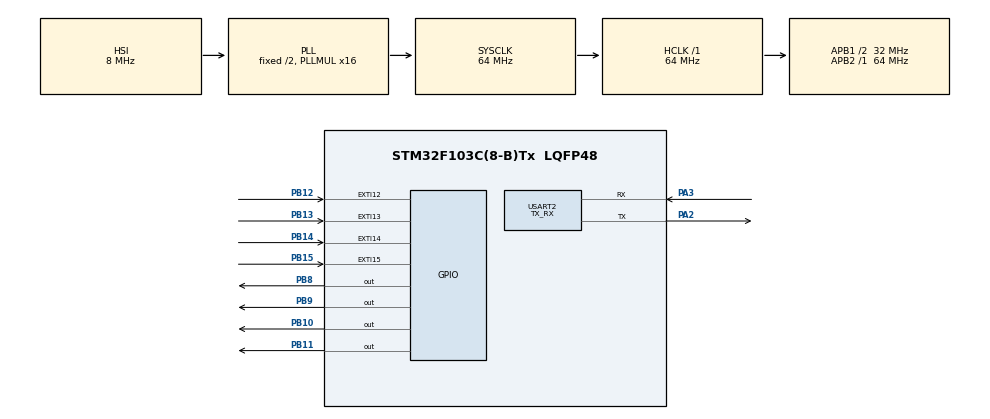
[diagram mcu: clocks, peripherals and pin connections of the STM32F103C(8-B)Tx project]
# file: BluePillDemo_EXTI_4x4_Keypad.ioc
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Mcu.Family=STM32F1
Mcu.Name=STM32F103C(8-B)Tx
Mcu.Package=LQFP48
NVIC.EXTI15_10_IRQn=true\:0\:0\:false\:false\:true\:true\:true
NVIC.PriorityGroup=NVIC_PRIORITYGROUP_4
PA13.Mode=Serial_Wire
PA13.Signal=SYS_JTMS-SWDIO
PA14.Mode=Serial_Wire
PA14.Signal=SYS_JTCK-SWCLK
PA2.Mode=Asynchronous
PA2.Signal=USART2_TX
PA3.Mode=Asynchronous
PA3.Signal=USART2_RX
PB10.PinState=GPIO_PIN_SET
PB10.Signal=GPIO_Output
PB11.PinState=GPIO_PIN_SET
PB11.Signal=GPIO_Output
PB12.GPIO_PuPd=GPIO_PULLDOWN
PB12.Signal=GPXTI12
PB13.GPIO_PuPd=GPIO_PULLDOWN
PB13.Signal=GPXTI13
PB14.GPIO_PuPd=GPIO_PULLDOWN
PB14.Signal=GPXTI14
PB15.GPIO_PuPd=GPIO_PULLDOWN
PB15.Signal=GPXTI15
PB8.PinState=GPIO_PIN_SET
PB8.Signal=GPIO_Output
PB9.PinState=GPIO_PIN_SET
PB9.Signal=GPIO_Output
ProjectManager.HeapSize=0x200
ProjectManager.StackSize=0x400
ProjectManager.TargetToolchain=STM32CubeIDE
RCC.AHBFreq_Value=64000000
RCC.APB1CLKDivider=RCC_HCLK_DIV2
RCC.APB1Freq_Value=32000000
RCC.APB1TimFreq_Value=64000000
RCC.APB2Freq_Value=64000000
RCC.APB2TimFreq_Value=64000000
RCC.HCLKFreq_Value=64000000
RCC.PLLMUL=RCC_PLL_MUL16
RCC.SYSCLKFreq_VALUE=64000000
RCC.SYSCLKSource=RCC_SYSCLKSOURCE_PLLCLK
RCC.USBFreq_Value=64000000
USART2.Mode=MODE_TX_RX
USART2.VirtualMode=VM_ASYNC
board=custom

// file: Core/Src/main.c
/* USER CODE BEGIN Header */
/**
  ******************************************************************************
  * @file           : main.c
  * @brief          : Main program body
  ******************************************************************************
  * @attention
  *
  * <h2><center>&copy; Copyright (c) 2020 STMicroelectronics.
  * All rights reserved.</center></h2>
  *
  * This software component is licensed by ST under BSD 3-Clause license,
  * the "License"; You may not use this file except in compliance with the
  * License. You may obtain a copy of the License at:
  *                        opensource.org/licenses/BSD-3-Clause
  *
  ******************************************************************************
  */
/* USER CODE END Header */

#include "main.h"

/* USER CODE BEGIN Includes */
#include <string.h>
#include <stdio.h>

/* USER CODE END Includes */

UART_HandleTypeDef huart2;

/* USER CODE BEGIN PV */
static volatile uint8_t button;

/* USER CODE END PV */

void SystemClock_Config(void);
static void MX_GPIO_Init(void);
static void MX_USART2_UART_Init(void);

/* USER CODE BEGIN 0 */
void HAL_GPIO_EXTI_Callback(uint16_t GPIO_Pin)
{
  static const uint16_t inPins[4] = { GPIO_PIN_15, GPIO_PIN_14, GPIO_PIN_13, GPIO_PIN_12 };
  static const uint32_t extiLines[4] = { EXTI_LINE_15, EXTI_LINE_14, EXTI_LINE_13, EXTI_LINE_12 };
  uint8_t i;
  EXTI_HandleTypeDef hexti;
  static uint32_t lastPressedTime = 0UL;

  // check for bounce
  if (HAL_GetTick() - lastPressedTime > 250UL)	// 250ms is the debounce time, adjust to suit
  {
	  lastPressedTime = HAL_GetTick();

	  // set all output pins to low
	  HAL_GPIO_WritePin(GPIOB, GPIO_PIN_8 | GPIO_PIN_9 | GPIO_PIN_10 | GPIO_PIN_11, GPIO_PIN_RESET);

	  // go round all the input pins until the right one is found
	  for (i = 0U; i < 4U; i++)
	  {
		  // for each output pin set it high and read the input pin
		  if (GPIO_Pin == inPins[i])
		  {
			HAL_GPIO_WritePin(GPIOB, GPIO_PIN_11, GPIO_PIN_SET);
			if (HAL_GPIO_ReadPin(GPIOB, GPIO_Pin) == GPIO_PIN_SET)
			{
				button = 0U + i * 4U;
				break;
			}

			HAL_GPIO_WritePin(GPIOB, GPIO_PIN_10, GPIO_PIN_SET);
			if (HAL_GPIO_ReadPin(GPIOB, GPIO_Pin) == GPIO_PIN_SET)
			{
				button = 1U + i * 4U;
				break;
			}

			HAL_GPIO_WritePin(GPIOB, GPIO_PIN_9, GPIO_PIN_SET);
			if (HAL_GPIO_ReadPin(GPIOB, GPIO_Pin) == GPIO_PIN_SET)
			{
				button = 2U + i * 4U;
				break;
			}

			HAL_GPIO_WritePin(GPIOB, GPIO_PIN_8, GPIO_PIN_SET);
			if (HAL_GPIO_ReadPin(GPIOB, GPIO_Pin) == GPIO_PIN_SET)
			{
				button = 3U + i * 4U;
				break;
			}
		  }
	  }

	  // set all output pins to high again
	  HAL_GPIO_WritePin(GPIOB, GPIO_PIN_8 | GPIO_PIN_9 | GPIO_PIN_10 | GPIO_PIN_11, GPIO_PIN_SET);
  }

  // bouncing the output pins during the scan will cause another exti interrupt to be pending so clear it suing the exti line (not pin)
  if (i < 4U)
  {
	  HAL_EXTI_GetHandle(&hexti, extiLines[i]);
	  HAL_EXTI_ClearPending(&hexti, extiLines[i]);
  }
}

/* USER CODE END 0 */

int main(void)
{
  /* USER CODE BEGIN 1 */
  char buf[10];

  /* USER CODE END 1 */

  /* MCU Configuration--------------------------------------------------------*/

  /* Reset of all peripherals, Initializes the Flash interface and the Systick. */
  HAL_Init();

  /* Configure the system clock */
  SystemClock_Config();

  /* Initialize all configured peripherals */
  MX_GPIO_Init();
  MX_USART2_UART_Init();

  /* Infinite loop */
  while (1)
  {

    /* USER CODE BEGIN 3 */
	 if (button != 0xffU)
	 {
		 sprintf(buf, "%u ", (unsigned int)button);
		 HAL_UART_Transmit(&huart2, (uint8_t *)buf, strlen(buf), 100UL);
		 button = 0xffU;
	 }
  }
  /* USER CODE END 3 */
}

void SystemClock_Config(void)
{
  RCC_OscInitTypeDef RCC_OscInitStruct = {0};
  RCC_ClkInitTypeDef RCC_ClkInitStruct = {0};

  /** Initializes the CPU, AHB and APB busses clocks
  */
  RCC_OscInitStruct.OscillatorType = RCC_OSCILLATORTYPE_HSI;
  RCC_OscInitStruct.HSIState = RCC_HSI_ON;
  RCC_OscInitStruct.HSICalibrationValue = RCC_HSICALIBRATION_DEFAULT;
  RCC_OscInitStruct.PLL.PLLState = RCC_PLL_ON;
  RCC_OscInitStruct.PLL.PLLSource = RCC_PLLSOURCE_HSI_DIV2;
  RCC_OscInitStruct.PLL.PLLMUL = RCC_PLL_MUL16;
  if (HAL_RCC_OscConfig(&RCC_OscInitStruct) != HAL_OK)
  {
    Error_Handler();
  }
  /** Initializes the CPU, AHB and APB busses clocks
  */
  RCC_ClkInitStruct.ClockType = RCC_CLOCKTYPE_HCLK|RCC_CLOCKTYPE_SYSCLK
                              |RCC_CLOCKTYPE_PCLK1|RCC_CLOCKTYPE_PCLK2;
  RCC_ClkInitStruct.SYSCLKSource = RCC_SYSCLKSOURCE_PLLCLK;
  RCC_ClkInitStruct.AHBCLKDivider = RCC_SYSCLK_DIV1;
  RCC_ClkInitStruct.APB1CLKDivider = RCC_HCLK_DIV2;
  RCC_ClkInitStruct.APB2CLKDivider = RCC_HCLK_DIV1;

  if (HAL_RCC_ClockConfig(&RCC_ClkInitStruct, FLASH_LATENCY_2) != HAL_OK)
  {
    Error_Handler();
  }
}

static void MX_USART2_UART_Init(void)
{

  huart2.Instance = USART2;
  huart2.Init.BaudRate = 115200;
  huart2.Init.WordLength = UART_WORDLENGTH_8B;
  huart2.Init.StopBits = UART_STOPBITS_1;
  huart2.Init.Parity = UART_PARITY_NONE;
  huart2.Init.Mode = UART_MODE_TX_RX;
  huart2.Init.HwFlowCtl = UART_HWCONTROL_NONE;
  huart2.Init.OverSampling = UART_OVERSAMPLING_16;
  if (HAL_UART_Init(&huart2) != HAL_OK)
  {
    Error_Handler();
  }

}

static void MX_GPIO_Init(void)
{
  GPIO_InitTypeDef GPIO_InitStruct = {0};

  /* GPIO Ports Clock Enable */
  __HAL_RCC_GPIOA_CLK_ENABLE();
  __HAL_RCC_GPIOB_CLK_ENABLE();

  /*Configure GPIO pin Output Level */
  HAL_GPIO_WritePin(GPIOB, GPIO_PIN_10|GPIO_PIN_11|GPIO_PIN_8|GPIO_PIN_9, GPIO_PIN_SET);

  /*Configure GPIO pins : PB10 PB11 PB8 PB9 */
  GPIO_InitStruct.Pin = GPIO_PIN_10|GPIO_PIN_11|GPIO_PIN_8|GPIO_PIN_9;
  GPIO_InitStruct.Mode = GPIO_MODE_OUTPUT_PP;
  GPIO_InitStruct.Pull = GPIO_NOPULL;
  GPIO_InitStruct.Speed = GPIO_SPEED_FREQ_LOW;
  HAL_GPIO_Init(GPIOB, &GPIO_InitStruct);

  /*Configure GPIO pins : PB12 PB13 PB14 PB15 */
  GPIO_InitStruct.Pin = GPIO_PIN_12|GPIO_PIN_13|GPIO_PIN_14|GPIO_PIN_15;
  GPIO_InitStruct.Mode = GPIO_MODE_IT_RISING;
  GPIO_InitStruct.Pull = GPIO_PULLDOWN;
  HAL_GPIO_Init(GPIOB, &GPIO_InitStruct);

  /* EXTI interrupt init*/
  HAL_NVIC_SetPriority(EXTI15_10_IRQn, 0, 0);
  HAL_NVIC_EnableIRQ(EXTI15_10_IRQn);

}

void Error_Handler(void)
{
}

/************************ (C) COPYRIGHT STMicroelectronics *****END OF FILE****/
